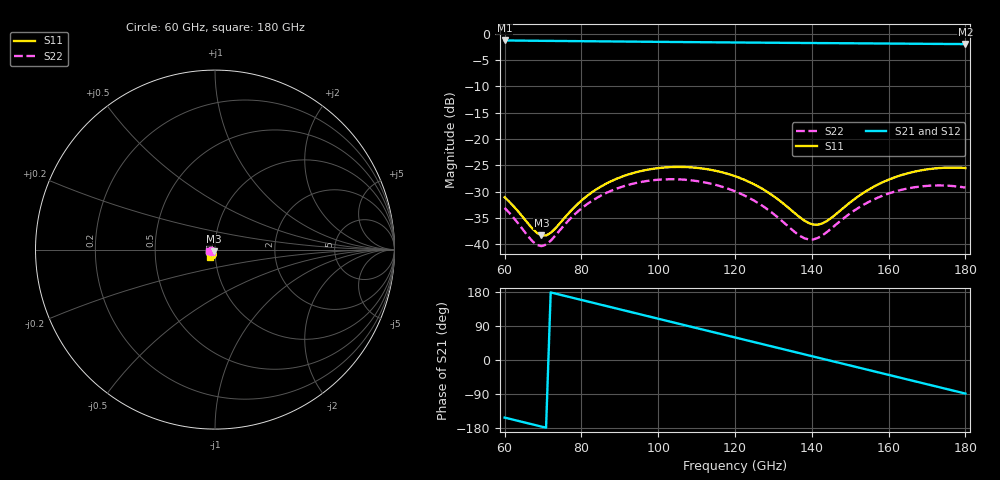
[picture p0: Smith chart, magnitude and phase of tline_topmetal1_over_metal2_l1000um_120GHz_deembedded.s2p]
! Created with skrf 2.0.1 (http://scikit-rf.org).
# GHz S DB R 50.0
!freq dBS11 angS11 dBS21 angS21 dBS12 angS12 dBS22 angS22
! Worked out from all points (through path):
!   101 points, 60 GHz to 180 GHz, reference 50 ohm
!   highest |S21| = -1.24 dB at 60 GHz (marker M1); lowest = -1.9 dB at 180 GHz (marker M2)
!   group delay of S21, straight-line fit = 6.87 ps
!   lowest |S11| = -38.4 dB at 69.6 GHz (marker M3), VSWR 1.02, Z = 49.3 - j0.994 ohm
!   |S11| at or under -10 dB: start of sweep to end of sweep
!   |S22| runs from -40.4 to -27.6 dB; largest |S21 - S12| = 4e-16
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60  -31.07 -156.3  -1.24 -151.9  -1.24 -151.9  -33.10 -162.0
67.2  -37.01 -142.3  -1.30 -169.8  -1.30 -169.8  -39.42 -144.8
69.6  -38.36 -123.5  -1.31 -175.7  -1.31 -175.7  -40.39 -124.0
72  -37.85 -102.3  -1.33 178.3  -1.33 178.3  -39.35 -104.2
80.4  -31.46 -80.4  -1.38 157.5  -1.38 157.5  -32.99 -89.9
85.2  -28.99 -85.0  -1.42 145.6  -1.42 145.6  -30.72 -96.5
90  -27.32 -92.6  -1.45 133.7  -1.45 133.7  -29.22 -105.8
96  -26.01 -103.9  -1.48 118.9  -1.48 118.9  -28.11 -118.8
100.8  -25.47 -113.4  -1.51 107.0  -1.51 107.0  -27.70 -129.6
105.6  -25.31 -122.9  -1.54 95.1  -1.54 95.1  -27.68 -140.5
110.4  -25.51 -132.2  -1.57 83.3  -1.57 83.3  -28.03 -151.0
120  -27.07 -149.0  -1.63 59.5  -1.63 59.5  -29.95 -169.9
126  -29.01 -156.5  -1.66 44.7  -1.66 44.7  -32.17 -178.2
130.8  -31.26 -158.4  -1.69 32.9  -1.69 32.9  -34.70 -179.6
136.8  -34.84 -147.7  -1.72 18.1  -1.72 18.1  -38.37 -165.0
140.4  -36.27 -128.8  -1.73 9.2  -1.73 9.2  -39.10 -144.0
144  -35.57 -107.2  -1.75 0.3  -1.75 0.3  -37.67 -125.9
150  -32.05 -90.9  -1.78 -14.5  -1.78 -14.5  -34.14 -116.9
154.8  -29.62 -90.6  -1.81 -26.4  -1.81 -26.4  -31.98 -119.9
160.8  -27.51 -96.3  -1.84 -41.2  -1.84 -41.2  -30.18 -128.4
170.4  -25.74 -110.2  -1.89 -64.9  -1.89 -64.9  -28.89 -145.9
180  -25.51 -125.2  -1.94 -88.6  -1.94 -88.6  -29.24 -164.0
